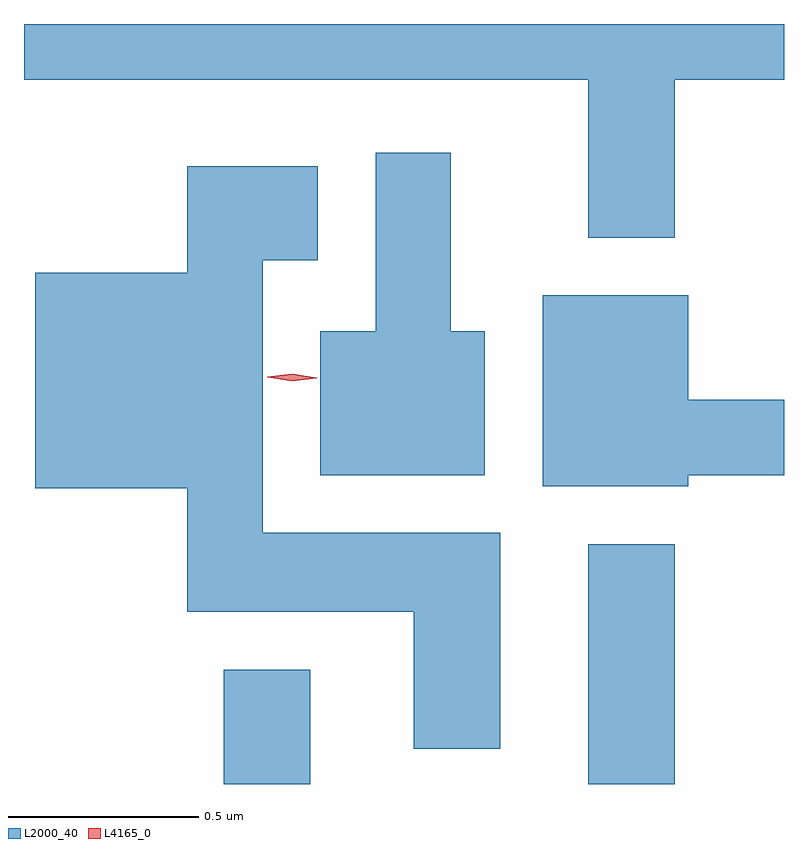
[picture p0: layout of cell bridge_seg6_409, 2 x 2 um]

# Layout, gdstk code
import gdstk
lib = gdstk.Library(unit=1e-6, precision=1e-09)
def R(c, l, rs):  # rectangles x0, y0, x1, y1
    for r in rs: c.add(gdstk.rectangle(r[:2], r[2:], *l))
def P(c, l, *ps):  # polygons
    for p in ps: c.add(gdstk.Polygon(p, *l))
L2000_40 = (2000, 40)
L4165_0 = (4165, 0)

bridge_seg6_409 = lib.new_cell('bridge_seg6_409')
R(bridge_seg6_409, L2000_40, [(980.181,1617.003,980.409,1617.304), (981.141,1617.003,981.369,1617.634)])
P(bridge_seg6_409, L2000_40, [(981.369,1618.856),(981.656,1618.856),(981.656,1619.003),(979.656,1619.003),(979.656,1618.856),(981.141,1618.856),(981.141,1618.441),(981.369,1618.441)],
  [(980.869,1618.194),(980.779,1618.194),(980.779,1618.664),(980.581,1618.664),(980.581,1618.194),(980.436,1618.194),(980.436,1617.816),(980.869,1617.816)],
  [(980.909,1617.664),(980.284,1617.664),(980.284,1618.381),(980.429,1618.381),(980.429,1618.629),(980.086,1618.629),(980.086,1618.349),(979.686,1618.349),(979.686,1617.781),(980.086,1617.781),(980.086,1617.456),(980.681,1617.456),(980.681,1617.096),(980.909,1617.096)],
  [(981.404,1617.816),(981.656,1617.816),(981.656,1618.014),(981.404,1618.014),(981.404,1618.289),(981.021,1618.289),(981.021,1617.786),(981.404,1617.786)])
P(bridge_seg6_409, L4165_0, [(980.362,1618.063),(980.296,1618.074),(980.296,1618.074),(980.296,1618.075),(980.362,1618.083),(980.427,1618.072),(980.428,1618.072),(980.427,1618.071)])

lib.write_gds('bridge_seg6_409.gds')
